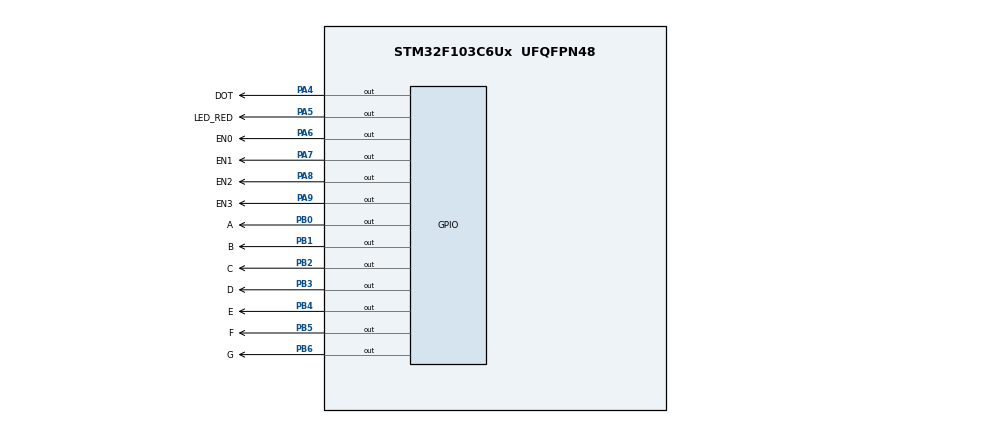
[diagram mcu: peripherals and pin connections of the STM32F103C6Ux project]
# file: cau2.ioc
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Mcu.Family=STM32F1
Mcu.Name=STM32F103C6Ux
Mcu.Package=UFQFPN48
NVIC.PriorityGroup=NVIC_PRIORITYGROUP_4
NVIC.TIM2_IRQn=true\:0\:0\:false\:false\:true\:true\:true\:true
PA4.GPIO_Label=DOT
PA4.Signal=GPIO_Output
PA5.GPIO_Label=LED_RED
PA5.Signal=GPIO_Output
PA6.GPIO_Label=EN0
PA6.Signal=GPIO_Output
PA7.GPIO_Label=EN1
PA7.Signal=GPIO_Output
PA8.GPIO_Label=EN2
PA8.Signal=GPIO_Output
PA9.GPIO_Label=EN3
PA9.Signal=GPIO_Output
PB0.GPIO_Label=A
PB0.Signal=GPIO_Output
PB1.GPIO_Label=B
PB1.Signal=GPIO_Output
PB2.GPIO_Label=C
PB2.Signal=GPIO_Output
PB3.GPIO_Label=D
PB3.Signal=GPIO_Output
PB4.GPIO_Label=E
PB4.Signal=GPIO_Output
PB5.GPIO_Label=F
PB5.Signal=GPIO_Output
PB6.GPIO_Label=G
PB6.Signal=GPIO_Output
ProjectManager.HeapSize=0x200
ProjectManager.StackSize=0x400
ProjectManager.TargetToolchain=STM32CubeIDE
RCC.APB1Freq_Value=8000000
RCC.APB2Freq_Value=8000000
TIM2.Period=9
TIM2.Prescaler=7999
VP_TIM2_VS_ClockSourceINT.Mode=Internal
board=custom

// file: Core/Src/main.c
/* USER CODE BEGIN Header */
/**
  ******************************************************************************
  * @file           : main.c
  * @brief          : Main program body
  ******************************************************************************
  * @attention
  *
  * Copyright (c) 2022 STMicroelectronics.
  * All rights reserved.
  *
  * This software is licensed under terms that can be found in the LICENSE file
  * in the root directory of this software component.
  * If no LICENSE file comes with this software, it is provided AS-IS.
  *
  ******************************************************************************
  */
/* USER CODE END Header */
#include "main.h"

/* USER CODE BEGIN Includes */

#include "cau2_header.h"

/* USER CODE END Includes */

TIM_HandleTypeDef htim2;

/* USER CODE BEGIN PV */

int state = 1;

/* USER CODE END PV */

void SystemClock_Config(void);
static void MX_GPIO_Init(void);
static void MX_TIM2_Init(void);
/* USER CODE BEGIN PFP */

void display7SEG(int num)
{
	if (num == 0)
	{
		HAL_GPIO_WritePin(A_GPIO_Port,A_Pin,0);
		HAL_GPIO_WritePin(B_GPIO_Port,B_Pin,0);
		HAL_GPIO_WritePin(C_GPIO_Port,C_Pin,0);
		HAL_GPIO_WritePin(D_GPIO_Port,D_Pin,0);
		HAL_GPIO_WritePin(E_GPIO_Port,E_Pin,0);
		HAL_GPIO_WritePin(F_GPIO_Port,F_Pin,0);
		HAL_GPIO_WritePin(G_GPIO_Port,G_Pin,1);
	}
	if (num == 1)
	{
		HAL_GPIO_WritePin(A_GPIO_Port,A_Pin,1);
		HAL_GPIO_WritePin(B_GPIO_Port,B_Pin,0);
		HAL_GPIO_WritePin(C_GPIO_Port,C_Pin,0);
		HAL_GPIO_WritePin(D_GPIO_Port,D_Pin,1);
		HAL_GPIO_WritePin(E_GPIO_Port,E_Pin,1);
		HAL_GPIO_WritePin(F_GPIO_Port,F_Pin,1);
		HAL_GPIO_WritePin(G_GPIO_Port,G_Pin,1);
	}
	if (num == 2)
	{
		HAL_GPIO_WritePin(A_GPIO_Port,A_Pin,0);
		HAL_GPIO_WritePin(B_GPIO_Port,B_Pin,0);
		HAL_GPIO_WritePin(C_GPIO_Port,C_Pin,1);
		HAL_GPIO_WritePin(D_GPIO_Port,D_Pin,0);
		HAL_GPIO_WritePin(E_GPIO_Port,E_Pin,0);
		HAL_GPIO_WritePin(F_GPIO_Port,F_Pin,1);
		HAL_GPIO_WritePin(G_GPIO_Port,G_Pin,0);
	}
	if (num == 3)
	{
		HAL_GPIO_WritePin(A_GPIO_Port,A_Pin,0);
		HAL_GPIO_WritePin(B_GPIO_Port,B_Pin,0);
		HAL_GPIO_WritePin(C_GPIO_Port,C_Pin,0);
		HAL_GPIO_WritePin(D_GPIO_Port,D_Pin,0);
		HAL_GPIO_WritePin(E_GPIO_Port,E_Pin,1);
		HAL_GPIO_WritePin(F_GPIO_Port,F_Pin,1);
		HAL_GPIO_WritePin(G_GPIO_Port,G_Pin,0);
	}
	if (num == 4)
	{
		HAL_GPIO_WritePin(A_GPIO_Port,A_Pin,1);
		HAL_GPIO_WritePin(B_GPIO_Port,B_Pin,0);
		HAL_GPIO_WritePin(C_GPIO_Port,C_Pin,0);
		HAL_GPIO_WritePin(D_GPIO_Port,D_Pin,1);
		HAL_GPIO_WritePin(E_GPIO_Port,E_Pin,1);
		HAL_GPIO_WritePin(F_GPIO_Port,F_Pin,0);
		HAL_GPIO_WritePin(G_GPIO_Port,G_Pin,0);
	}
	if (num == 5)
	{
		HAL_GPIO_WritePin(A_GPIO_Port,A_Pin,0);
		HAL_GPIO_WritePin(B_GPIO_Port,B_Pin,1);
		HAL_GPIO_WritePin(C_GPIO_Port,C_Pin,0);
		HAL_GPIO_WritePin(D_GPIO_Port,D_Pin,0);
		HAL_GPIO_WritePin(E_GPIO_Port,E_Pin,1);
		HAL_GPIO_WritePin(F_GPIO_Port,F_Pin,0);
		HAL_GPIO_WritePin(G_GPIO_Port,G_Pin,0);
	}
	if (num == 6)
	{
		HAL_GPIO_WritePin(A_GPIO_Port,A_Pin,0);
		HAL_GPIO_WritePin(B_GPIO_Port,B_Pin,1);
		HAL_GPIO_WritePin(C_GPIO_Port,C_Pin,0);
		HAL_GPIO_WritePin(D_GPIO_Port,D_Pin,0);
		HAL_GPIO_WritePin(E_GPIO_Port,E_Pin,0);
		HAL_GPIO_WritePin(F_GPIO_Port,F_Pin,0);
		HAL_GPIO_WritePin(G_GPIO_Port,G_Pin,0);
	}
	if (num == 7)
	{
		HAL_GPIO_WritePin(A_GPIO_Port,A_Pin,0);
		HAL_GPIO_WritePin(B_GPIO_Port,B_Pin,0);
		HAL_GPIO_WritePin(C_GPIO_Port,C_Pin,0);
		HAL_GPIO_WritePin(D_GPIO_Port,D_Pin,1);
		HAL_GPIO_WritePin(E_GPIO_Port,E_Pin,1);
		HAL_GPIO_WritePin(F_GPIO_Port,F_Pin,1);
		HAL_GPIO_WritePin(G_GPIO_Port,G_Pin,1);
	}
	if (num == 8)
	{
		HAL_GPIO_WritePin(A_GPIO_Port,A_Pin,0);
		HAL_GPIO_WritePin(B_GPIO_Port,B_Pin,0);
		HAL_GPIO_WritePin(C_GPIO_Port,C_Pin,0);
		HAL_GPIO_WritePin(D_GPIO_Port,D_Pin,0);
		HAL_GPIO_WritePin(E_GPIO_Port,E_Pin,0);
		HAL_GPIO_WritePin(F_GPIO_Port,F_Pin,0);
		HAL_GPIO_WritePin(G_GPIO_Port,G_Pin,0);
	}
	if (num == 9)
	{
		HAL_GPIO_WritePin(A_GPIO_Port,A_Pin,0);
		HAL_GPIO_WritePin(B_GPIO_Port,B_Pin,0);
		HAL_GPIO_WritePin(C_GPIO_Port,C_Pin,0);
		HAL_GPIO_WritePin(D_GPIO_Port,D_Pin,0);
		HAL_GPIO_WritePin(E_GPIO_Port,E_Pin,1);
		HAL_GPIO_WritePin(F_GPIO_Port,F_Pin,0);
		HAL_GPIO_WritePin(G_GPIO_Port,G_Pin,0);
	}
}

/* USER CODE END PFP */

int main(void)
{

  /* MCU Configuration--------------------------------------------------------*/

  /* Reset of all peripherals, Initializes the Flash interface and the Systick. */
  HAL_Init();

  /* Configure the system clock */
  SystemClock_Config();

  /* Initialize all configured peripherals */
  MX_GPIO_Init();
  MX_TIM2_Init();
  /* USER CODE BEGIN 2 */

  HAL_TIM_Base_Start_IT(&htim2);

  /* USER CODE END 2 */

  /* Infinite loop */
  /* USER CODE BEGIN WHILE */

  setTimer1(50);
  setTimer2(100);

  while (1)
  {
	  if(timer1_flag == 1)
	  {
		  switch(state)
		  {
	  		  case 1:	// seg 1 on
	  		  {
	  			  setTimer1(50);

	  			  display7SEG(1);

	  			  HAL_GPIO_WritePin(EN0_GPIO_Port, EN0_Pin, 0);	// seg 1 on
	  			  HAL_GPIO_WritePin(EN1_GPIO_Port, EN1_Pin, 1);	// seg 2 off
	  			  HAL_GPIO_WritePin(EN2_GPIO_Port, EN2_Pin, 1);	// seg 3 off
	  			  HAL_GPIO_WritePin(EN3_GPIO_Port, EN3_Pin, 1);	// seg 4 off
	  			  state = 2;
	  			  break;
	  		  }
	  		  case 2:	// seg 2 on
	  		  {
	  			  setTimer1(50);

	  			  display7SEG(2);

	  			  HAL_GPIO_WritePin(EN0_GPIO_Port, EN0_Pin, 1);	// seg 1 off
	  			  HAL_GPIO_WritePin(EN1_GPIO_Port, EN1_Pin, 0);	// seg 2 on
	  			  state = 3;
	  			  break;
	  		  }
	  		  case 3: 	// seg 3 on
	  		  {
	  			  setTimer1(50);

	  			  display7SEG(3);

	  			  HAL_GPIO_WritePin(EN1_GPIO_Port, EN1_Pin, 1);	// seg 2 off
	  			  HAL_GPIO_WritePin(EN2_GPIO_Port, EN2_Pin, 0);	// seg 3 on
	  			  state = 4;
	  			  break;
	  		  }
	  		  default:	// seg 4 on
	  		  {
	  			  setTimer1(50);

	  		  	  display7SEG(0);

	  			  HAL_GPIO_WritePin(EN2_GPIO_Port, EN2_Pin, 1);	// seg 3 off
	  			  HAL_GPIO_WritePin(EN3_GPIO_Port, EN3_Pin, 0);	// seg 4 on
	  			  state = 1;
	  		  }
	  	  }
	  }

	  if(timer2_flag == 1)
	  {
		  setTimer2(100);
		  HAL_GPIO_TogglePin(LED_RED_GPIO_Port, LED_RED_Pin);
		  HAL_GPIO_TogglePin(DOT_GPIO_Port, DOT_Pin);
	  }

    /* USER CODE END WHILE */

  }
}

void SystemClock_Config(void)
{
  RCC_OscInitTypeDef RCC_OscInitStruct = {0};
  RCC_ClkInitTypeDef RCC_ClkInitStruct = {0};

  /** Initializes the RCC Oscillators according to the specified parameters
  * in the RCC_OscInitTypeDef structure.
  */
  RCC_OscInitStruct.OscillatorType = RCC_OSCILLATORTYPE_HSI;
  RCC_OscInitStruct.HSIState = RCC_HSI_ON;
  RCC_OscInitStruct.HSICalibrationValue = RCC_HSICALIBRATION_DEFAULT;
  RCC_OscInitStruct.PLL.PLLState = RCC_PLL_NONE;
  if (HAL_RCC_OscConfig(&RCC_OscInitStruct) != HAL_OK)
  {
    Error_Handler();
  }

  /** Initializes the CPU, AHB and APB buses clocks
  */
  RCC_ClkInitStruct.ClockType = RCC_CLOCKTYPE_HCLK|RCC_CLOCKTYPE_SYSCLK
                              |RCC_CLOCKTYPE_PCLK1|RCC_CLOCKTYPE_PCLK2;
  RCC_ClkInitStruct.SYSCLKSource = RCC_SYSCLKSOURCE_HSI;
  RCC_ClkInitStruct.AHBCLKDivider = RCC_SYSCLK_DIV1;
  RCC_ClkInitStruct.APB1CLKDivider = RCC_HCLK_DIV1;
  RCC_ClkInitStruct.APB2CLKDivider = RCC_HCLK_DIV1;

  if (HAL_RCC_ClockConfig(&RCC_ClkInitStruct, FLASH_LATENCY_0) != HAL_OK)
  {
    Error_Handler();
  }
}

static void MX_TIM2_Init(void)
{

  TIM_ClockConfigTypeDef sClockSourceConfig = {0};
  TIM_MasterConfigTypeDef sMasterConfig = {0};

  htim2.Instance = TIM2;
  htim2.Init.Prescaler = 7999;
  htim2.Init.CounterMode = TIM_COUNTERMODE_UP;
  htim2.Init.Period = 9;
  htim2.Init.ClockDivision = TIM_CLOCKDIVISION_DIV1;
  htim2.Init.AutoReloadPreload = TIM_AUTORELOAD_PRELOAD_DISABLE;
  if (HAL_TIM_Base_Init(&htim2) != HAL_OK)
  {
    Error_Handler();
  }
  sClockSourceConfig.ClockSource = TIM_CLOCKSOURCE_INTERNAL;
  if (HAL_TIM_ConfigClockSource(&htim2, &sClockSourceConfig) != HAL_OK)
  {
    Error_Handler();
  }
  sMasterConfig.MasterOutputTrigger = TIM_TRGO_RESET;
  sMasterConfig.MasterSlaveMode = TIM_MASTERSLAVEMODE_DISABLE;
  if (HAL_TIMEx_MasterConfigSynchronization(&htim2, &sMasterConfig) != HAL_OK)
  {
    Error_Handler();
  }

}

static void MX_GPIO_Init(void)
{
  GPIO_InitTypeDef GPIO_InitStruct = {0};

  /* GPIO Ports Clock Enable */
  __HAL_RCC_GPIOA_CLK_ENABLE();
  __HAL_RCC_GPIOB_CLK_ENABLE();

  /*Configure GPIO pin Output Level */
  HAL_GPIO_WritePin(GPIOA, DOT_Pin|LED_RED_Pin|EN0_Pin|EN1_Pin
                          |EN2_Pin|EN3_Pin, GPIO_PIN_RESET);

  /*Configure GPIO pin Output Level */
  HAL_GPIO_WritePin(GPIOB, A_Pin|B_Pin|C_Pin|D_Pin
                          |E_Pin|F_Pin|G_Pin, GPIO_PIN_RESET);

  /*Configure GPIO pins : DOT_Pin LED_RED_Pin EN0_Pin EN1_Pin
                           EN2_Pin EN3_Pin */
  GPIO_InitStruct.Pin = DOT_Pin|LED_RED_Pin|EN0_Pin|EN1_Pin
                          |EN2_Pin|EN3_Pin;
  GPIO_InitStruct.Mode = GPIO_MODE_OUTPUT_PP;
  GPIO_InitStruct.Pull = GPIO_NOPULL;
  GPIO_InitStruct.Speed = GPIO_SPEED_FREQ_LOW;
  HAL_GPIO_Init(GPIOA, &GPIO_InitStruct);

  /*Configure GPIO pins : A_Pin B_Pin C_Pin D_Pin
                           E_Pin F_Pin G_Pin */
  GPIO_InitStruct.Pin = A_Pin|B_Pin|C_Pin|D_Pin
                          |E_Pin|F_Pin|G_Pin;
  GPIO_InitStruct.Mode = GPIO_MODE_OUTPUT_PP;
  GPIO_InitStruct.Pull = GPIO_NOPULL;
  GPIO_InitStruct.Speed = GPIO_SPEED_FREQ_LOW;
  HAL_GPIO_Init(GPIOB, &GPIO_InitStruct);

}

/* USER CODE BEGIN 4 */

void HAL_TIM_PeriodElapsedCallback (TIM_HandleTypeDef *htim )
{
	timeRun();
}

/* USER CODE END 4 */

void Error_Handler(void)
{
  __disable_irq();
  while (1)
  {
  }
}
